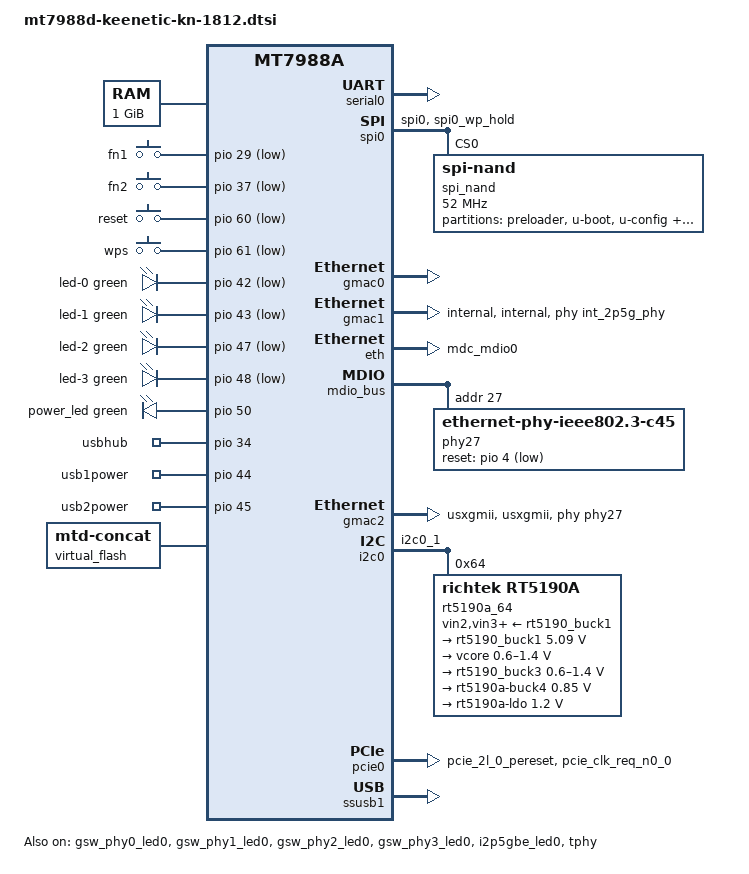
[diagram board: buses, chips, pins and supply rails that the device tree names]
// SPDX-License-Identifier: (GPL-2.0 OR MIT)

/dts-v1/;
#include "mt7988a.dtsi"
#include <dt-bindings/gpio/gpio.h>
#include <dt-bindings/input/input.h>
#include <dt-bindings/leds/common.h>
#include <dt-bindings/pinctrl/mt65xx.h>
#include <dt-bindings/regulator/richtek,rt5190a-regulator.h>

/ {
	aliases {
		serial0 = &serial0;
		label-mac-device = &gmac1;
		led-boot = &power_led;
		led-failsafe = &power_led;
		led-running = &power_led;
		led-upgrade = &power_led;
	};

	chosen {
		stdout-path = &serial0;
		bootargs = "console=ttyS0,115200n1 pci=pcie_bus_perf";
	};

	memory@40000000 {
		reg = <0x0 0x40000000 0x0 0x40000000>;
		device_type = "memory";
	};

	cpus {
		/delete-node/ cpu@3;
	};

	gpio-keys {
		compatible = "gpio-keys";

		button-fn1 {
			label = "fn1";
			linux,code = <BTN_0>;
			gpios = <&pio 29 GPIO_ACTIVE_LOW>;
		};

		button-fn2 {
			label = "fn2";
			linux,code = <BTN_1>;
			gpios = <&pio 37 GPIO_ACTIVE_LOW>;
		};

		button-reset {
			label = "reset";
			linux,code = <KEY_RESTART>;
			gpios = <&pio 60 GPIO_ACTIVE_LOW>;
		};

		button-wps {
			label = "wps";
			linux,code = <KEY_WPS_BUTTON>;
			gpios = <&pio 61 GPIO_ACTIVE_LOW>;
		};
	};

	gpio-leds {
		compatible = "gpio-leds";

		/* fn1 */
		led-0 {
			color = <LED_COLOR_ID_GREEN>;
			function = LED_FUNCTION_INDICATOR;
			function-enumerator = <0>;
			gpios = <&pio 42 GPIO_ACTIVE_LOW>;
		};

		/* fn2 */
		led-1 {
			color = <LED_COLOR_ID_GREEN>;
			function = LED_FUNCTION_INDICATOR;
			function-enumerator = <1>;
			gpios = <&pio 43 GPIO_ACTIVE_LOW>;
		};

		/* wifi */
		led-2 {
			color = <LED_COLOR_ID_GREEN>;
			function = LED_FUNCTION_WLAN;
			gpios = <&pio 47 GPIO_ACTIVE_LOW>;
		};

		/* internet */
		led-3 {
			color = <LED_COLOR_ID_GREEN>;
			function = LED_FUNCTION_WAN_ONLINE;
			gpios = <&pio 48 GPIO_ACTIVE_LOW>;
		};

		/* power */
		power_led: led-4 {
			color = <LED_COLOR_ID_GREEN>;
			function = LED_FUNCTION_POWER;
			gpios = <&pio 50 GPIO_ACTIVE_HIGH>;
		};
	};

	gpio-export {
		compatible = "gpio-export";

		/* usb2.0 hub GL850G */
		usbhub {
			gpio-export,name = "usbhub";
			gpio-export,output = <1>;
			gpios = <&pio 34 GPIO_ACTIVE_HIGH>;
		};

		/* USB2.0 */
		usb1power {
			gpio-export,name = "usb1power";
			gpio-export,output = <1>;
			gpios = <&pio 44 GPIO_ACTIVE_HIGH>;
		};

		/* USB3.2 Gen1 */
		usb2power {
			gpio-export,name = "usb2power";
			gpio-export,output = <1>;
			gpios = <&pio 45 GPIO_ACTIVE_HIGH>;
		};
	};

	virtual_flash {
		compatible = "mtd-concat";
		devices = <&firmware1 &storage1 &firmware2 &storage2>;

		partitions {
			compatible = "fixed-partitions";
			#address-cells = <1>;
			#size-cells = <1>;

			partition@0 {
				label = "kernel";
				reg = <0x0 0x600000>;
			};

			partition@400000 {
				label = "ubi";
				reg = <0x600000 0x0>;
			};
		};
	};
};

/* configure uart */
&serial0 {
	status = "okay";
};

/* configure spi-nand */
&spi0 {
	pinctrl-names = "default";
	pinctrl-0 = <&spi0_flash_pins>;
	status = "okay";

	/* Winbond W25N02KV (256M) */
	spi_nand@0 {
		compatible = "spi-nand";
		reg = <0>;

		spi-max-frequency = <52000000>;
		spi-rx-bus-width = <4>;
		spi-tx-bus-width = <4>;

		mediatek,nmbm;
		mediatek,bmt-max-ratio = <1>;
		mediatek,bmt-max-reserved-blocks = <64>;

		partitions {
			compatible = "fixed-partitions";
			#address-cells = <1>;
			#size-cells = <1>;

			/* bl2 */
			partition@0 {
				label = "preloader";
				reg = <0x0 0x80000>;
				read-only;
			};

			/* fip */
			partition@80000 {
				label = "u-boot";
				reg = <0x80000 0x200000>;
				read-only;
			};

			partition@280000 {
				label = "u-config";
				reg = <0x280000 0x80000>;
				read-only;
			};

			partition@300000 {
				label = "rf-eeprom";
				reg = <0x300000 0x400000>;
				read-only;

				nvmem-layout {
					compatible = "fixed-layout";
					#address-cells = <1>;
					#size-cells = <1>;

					eeprom_factory_0: eeprom@0 {
						reg = <0x0 0x1e00>;
					};

					/* lan mac */
					macaddr_factory_4: macaddr@4 {
						reg = <0x4 0x6>;
					};

					/* 5Ghz mac */
					macaddr_factory_a: macaddr@a {
						reg = <0xa 0x6>;
					};

					/* lan5 mac */
					macaddr_factory_fffee: macaddr@fffee {
						reg = <0xfffee 0x6>;
					};

					/* wan mac */
					macaddr_factory_ffffa: macaddr@ffffa {
						reg = <0xffffa 0x6>;
					};
				};
			};

			firmware1: partition@700000 {
				label = "firmware_1";
				reg = <0x700000 0x3800000>;
			};

			partition@3f00000 {
				label = "config_1";
				reg = <0x3f00000 0x80000>;
				read-only;
			};

			partition@3f80000 {
				label = "dump";
				reg = <0x3f80000 0x80000>;
				read-only;
			};

			storage1: partition@4000000 {
				label = "storage_a";
				reg = <0x4000000 0x3800000>;
			};

			partition@7800000 {
				label = "u-state";
				reg = <0x7800000 0x80000>;
				read-only;
			};

			partition@7a80000 {
				label = "u-config_res";
				reg = <0x7a80000 0x80000>;
				read-only;
			};

			partition@7b00000 {
				label = "rf-eeprom_res";
				reg = <0x7b00000 0x400000>;
				read-only;
			};

			firmware2: partition@7f00000 {
				label = "firmware_2";
				reg = <0x7f00000 0x3800000>;
			};

			partition@b700000 {
				label = "config_2";
				reg = <0xb700000 0x80000>;
				read-only;
			};

			storage2: partition@b780000 {
				label = "storage_b";
				reg = <0xb780000 0x3880000>;
			};
		};
	};
};

/* configure switch */
&gmac0 {
	nvmem-cells = <&macaddr_factory_4>;
	nvmem-cell-names = "mac-address";
	status = "okay";
};

/* lan1 */
&gsw_port0 {
	label = "lan1";
};

&gsw_phy0 {
	pinctrl-names = "gbe-led";
	pinctrl-0 = <&gbe0_led0_pins>;
};

&gsw_phy0_led0 {
	status = "okay";
	function = LED_FUNCTION_LAN;
	color = <LED_COLOR_ID_GREEN>;
};

/* lan2 */
&gsw_port1 {
	label = "lan2";
};

&gsw_phy1 {
	pinctrl-names = "gbe-led";
	pinctrl-0 = <&gbe1_led0_pins>;
};

&gsw_phy1_led0 {
	status = "okay";
	function = LED_FUNCTION_LAN;
	color = <LED_COLOR_ID_GREEN>;
};

/* lan3 */
&gsw_port2 {
	label = "lan3";
};

&gsw_phy2 {
	pinctrl-names = "gbe-led";
	pinctrl-0 = <&gbe2_led0_pins>;
};

&gsw_phy2_led0 {
	status = "okay";
	function = LED_FUNCTION_LAN;
	color = <LED_COLOR_ID_GREEN>;
};

/* lan4 */
&gsw_port3 {
	label = "lan4";
};

&gsw_phy3 {
	pinctrl-names = "gbe-led";
	pinctrl-0 = <&gbe3_led0_pins>;
};

&gsw_phy3_led0 {
	status = "okay";
	function = LED_FUNCTION_LAN;
	color = <LED_COLOR_ID_GREEN>;
};

/* configure wan */
&gmac1 {
	nvmem-cells = <&macaddr_factory_ffffa>;
	nvmem-cell-names = "mac-address";
	label = "wan";
	phy-mode = "internal";
	phy-connection-type = "internal";
	phy = <&int_2p5g_phy>;
	status = "okay";
};

&int_2p5g_phy {
	pinctrl-names = "i2p5gbe-led";
	pinctrl-0 = <&i2p5gbe_led0_pins>;
};

&i2p5gbe_led0 {
	color = <LED_COLOR_ID_GREEN>;
	function = LED_FUNCTION_WAN;
	status = "okay";
};

/* configure lan5 */
&eth {
	pinctrl-names = "default";
	pinctrl-0 = <&mdio0_pins>;
	status = "okay";
};

&mdio_bus {
	phy27: ethernet-phy@1b {
		/* RTL8261BE */
		compatible = "ethernet-phy-ieee802.3-c45";
		reg = <0x1b>;

		reset-gpios = <&pio 4 GPIO_ACTIVE_LOW>;
		reset-assert-us = <100000>;
		reset-deassert-us = <100000>;
	};
};

&gmac2 {
	nvmem-cells = <&macaddr_factory_fffee>;
	nvmem-cell-names = "mac-address";
	label = "lan5";
	phy-mode = "usxgmii";
	phy-connection-type = "usxgmii";
	phy = <&phy27>;
	status = "okay";
};

/* configure power supply */
&i2c0 {
	pinctrl-names = "default";
	pinctrl-0 = <&i2c0_pins>;
	status = "okay";

	rt5190a_64: rt5190a@64 {
		compatible = "richtek,rt5190a";
		reg = <0x64>;

		vin2-supply = <&rt5190_buck1>;
		vin3-supply = <&rt5190_buck1>;
		vin4-supply = <&rt5190_buck1>;

		regulators {
			rt5190_buck1: buck1 {
				regulator-name = "rt5190a-buck1";
				regulator-min-microvolt = <5090000>;
				regulator-max-microvolt = <5090000>;
				regulator-allowed-modes =
				<RT5190A_OPMODE_AUTO RT5190A_OPMODE_FPWM>;
				regulator-boot-on;
				regulator-always-on;
			};

			buck2 {
				regulator-name = "vcore";
				regulator-min-microvolt = <600000>;
				regulator-max-microvolt = <1400000>;
				regulator-boot-on;
				regulator-always-on;
			};

			rt5190_buck3: buck3 {
				regulator-name = "vproc";
				regulator-min-microvolt = <600000>;
				regulator-max-microvolt = <1400000>;
				regulator-boot-on;
			};

			buck4 {
				regulator-name = "rt5190a-buck4";
				regulator-min-microvolt = <850000>;
				regulator-max-microvolt = <850000>;
				regulator-allowed-modes =
				<RT5190A_OPMODE_AUTO RT5190A_OPMODE_FPWM>;
				regulator-boot-on;
				regulator-always-on;
			};

			ldo {
				regulator-name = "rt5190a-ldo";
				regulator-min-microvolt = <1200000>;
				regulator-max-microvolt = <1200000>;
				regulator-boot-on;
				regulator-always-on;
			};
		};
	};
};

&cpu0 {
	proc-supply = <&rt5190_buck3>;
};

&cpu1 {
	proc-supply = <&rt5190_buck3>;
};

&cpu2 {
	proc-supply = <&rt5190_buck3>;
};

&cci {
	proc-supply = <&rt5190_buck3>;
};

/* configure wifi chip */
&pcie0 {
	pinctrl-names = "default";
	pinctrl-0 = <&pcie0_1_pins>;
	wifi-reset-gpios = <&pio 7 GPIO_ACTIVE_LOW>;
	wifi-reset-msleep = <100>;
	status = "okay";

	pcie@0,0 {
		reg = <0x0000 0 0 0 0>;
		#address-cells = <3>;
		#size-cells = <2>;

		mt7996@0,0 {
			reg = <0x0000 0 0 0 0>;
			#address-cells = <1>;
			#size-cells = <0>;
			nvmem-cells = <&eeprom_factory_0>;
			nvmem-cell-names = "eeprom";
			ieee80211-freq-limit = <2400000 2500000>, <5170000 5835000>;

			band@0 {
				/* 2.4 GHz */
				reg = <0>;
				nvmem-cells = <&macaddr_factory_4>;
				nvmem-cell-names = "mac-address";
			};

			band@1 {
				/* 5 GHz */
				reg = <1>;
				nvmem-cells = <&macaddr_factory_a>;
				nvmem-cell-names = "mac-address";
			};
		};
	};
};

/* configure pinmux settings */
&pio {
	mdio0_pins: mdio0-pins {
		mux {
			function = "eth";
			groups = "mdc_mdio0";
		};

		conf {
			groups = "mdc_mdio0";
			drive-strength = <MTK_DRIVE_4mA>;
		};
	};

	gbe0_led0_pins: gbe0-led0-pins {
		mux {
			function = "led";
			groups = "gbe0_led0";
		};
	};

	gbe1_led0_pins: gbe1-led0-pins {
		mux {
			function = "led";
			groups = "gbe1_led0";
		};
	};

	gbe2_led0_pins: gbe2-led0-pins {
		mux {
			function = "led";
			groups = "gbe2_led0";
		};
	};

	gbe3_led0_pins: gbe3-led0-pins {
		mux {
			function = "led";
			groups = "gbe3_led0";
		};
	};

	i2p5gbe_led0_pins: 2p5gbe-led0-pins {
		mux {
			function = "led";
			groups = "2p5gbe_led0";
		};
	};

	i2c0_pins: i2c0-pins-g0 {
		mux {
			function = "i2c";
			groups = "i2c0_1";
		};
	};

	pcie0_1_pins: pcie0-pins-g1 {
		mux {
			function = "pcie";
			groups = "pcie_2l_0_pereset", "pcie_clk_req_n0_0";
		};
	};

	spi0_flash_pins: spi0-flash-pins {
		mux {
			function = "spi";
			groups = "spi0", "spi0_wp_hold";
		};
	};
};

/* configure usb */
&ssusb1 {
	status = "okay";
};

&tphy {
	status = "okay";
};
